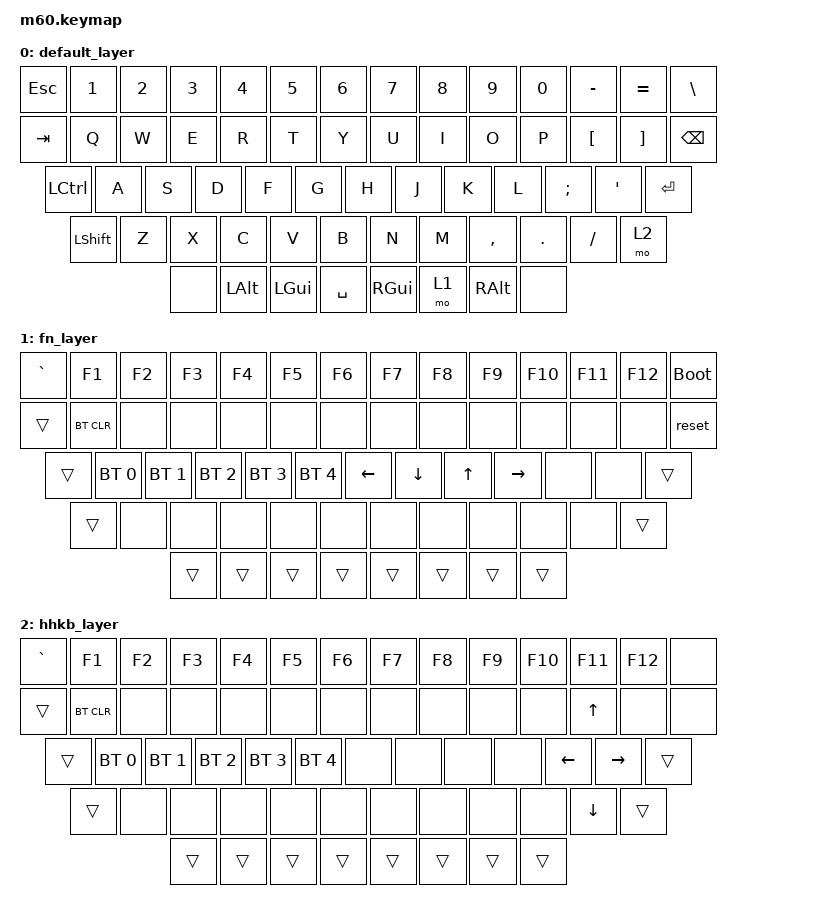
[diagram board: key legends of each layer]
/*
 * Copyright (c) 2020 The ZMK Contributors
 *
 * SPDX-License-Identifier: MIT
 */

#include <behaviors.dtsi>
#include <dt-bindings/zmk/keys.h>
#include <dt-bindings/zmk/bt.h>

/ {
	keymap0: keymap {
		compatible = "zmk,keymap";

		default_layer {
// ------------------------------------------------------------------------------------------
// | ESC |  1  |  2  |  3  |  4  |  5  |  6  |  7  |  8  |  9  |  0  |  -  |  =  |   BKSP   |
// | TAB  |  Q  |  W  |  E  |  R  |  T  |  Y  |  U  |  I  |  O  |  P  |  [  |  ]  |    \    |
// | CAPS  |  A  |  S  |  D  |  F  |  G  |  H  |  J  |  K  |  L  |  ;  |  '  |     ENTER    |
// |  SHIFT  |  Z  |  X  |  C  |  V  |  B  |  N  |  M  |  ,  |  .  |  /  |      SHIFT       |
// |  CTL  |  WIN  |  ALT  |            SPACE               | ALT | MO(1) |  WIN  | CTRL    |
// ------------------------------------------------------------------------------------------
			bindings = <
	&kp ESC &kp N1 &kp N2 &kp N3 &kp N4 &kp N5 &kp N6 &kp N7 &kp   N8  &kp  N9 &kp  N0  &kp MINUS &kp EQUAL &kp BSLH
	&kp TAB  &kp Q  &kp W  &kp E  &kp R  &kp T  &kp Y  &kp U  &kp   I   &kp  O  &kp   P  &kp LBKT &kp RBKT  &kp BSPC
	&kp LCTRL &kp A  &kp S  &kp D  &kp F  &kp G  &kp H  &kp J  &kp   K   &kp  L  &kp SEMI &kp SQT           &kp RET
	&kp LSHFT  &kp Z  &kp X  &kp C  &kp V  &kp B  &kp N  &kp M  &kp COMMA &kp DOT &kp FSLH         &mo 2
	&none &kp LALT &kp LGUI               &kp SPACE                 &kp  RGUI  &mo  1  &kp  RALT  &none
			>;
		};

		fn_layer {
			bindings = <
&kp GRAVE  &kp F1     &kp F2     &kp F3     &kp F4     &kp F5     &kp F6     &kp F7     &kp F8     &kp F9     &kp F10    &kp F11    &kp F12    &bootloader
&trans         &bt BT_CLR &none      &none      &none      &none      &none      &none      &none      &none      &none      &none      &none      &reset
&trans           &bt BT_SEL 0 &bt BT_SEL 1 &bt BT_SEL 2 &bt BT_SEL 3 &bt BT_SEL 4 &kp LEFT   &kp DOWN   &kp UP   &kp RIGHT   &none      &none      &trans
&trans                &none      &none      &none      &none      &none      &none      &none      &none      &none      &none      &trans
&trans       &trans       &trans       &trans                                                                     &trans     &trans     &trans     &trans
			>;
		};

		hhkb_layer {
			bindings = <
&kp GRAVE  &kp F1     &kp F2     &kp F3     &kp F4     &kp F5     &kp F6     &kp F7     &kp F8     &kp F9     &kp F10    &kp F11    &kp F12    &none
&trans         &bt BT_CLR &none      &none      &none      &none      &none      &none      &none      &none      &none      &kp UP      &none      &none
&trans           &bt BT_SEL 0 &bt BT_SEL 1 &bt BT_SEL 2 &bt BT_SEL 3 &bt BT_SEL 4 &none   &none   &none   &none   &kp LEFT      &kp RIGHT      &trans
&trans                &none      &none      &none      &none      &none      &none      &none      &none      &none      &kp DOWN      &trans
&trans       &trans       &trans       &trans                                                                     &trans     &trans     &trans     &trans
			>;
		};
	};
};
